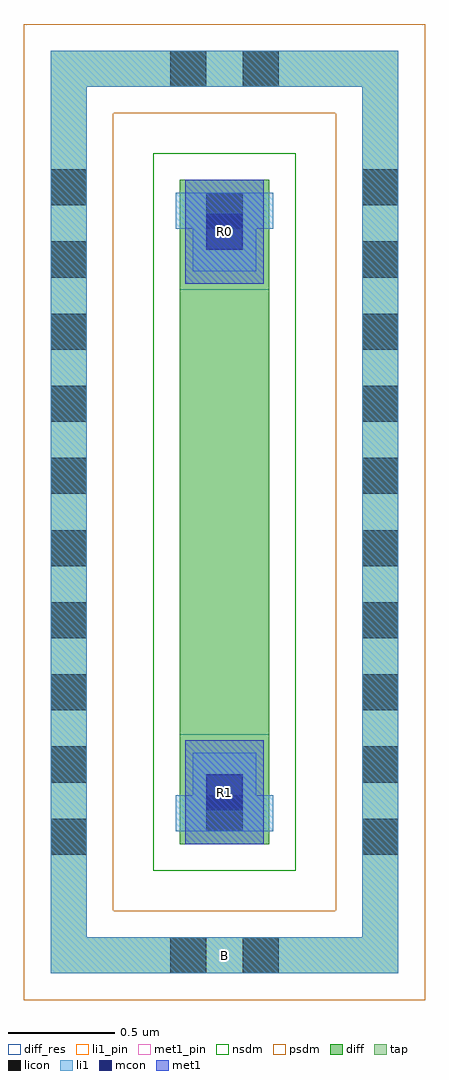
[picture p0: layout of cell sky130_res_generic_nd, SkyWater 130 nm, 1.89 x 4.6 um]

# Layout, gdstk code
import gdstk
lib = gdstk.Library(unit=1e-6, precision=1e-09)
def R(c, l, rs):  # rectangles x0, y0, x1, y1
    for r in rs: c.add(gdstk.rectangle(r[:2], r[2:], *l))
def A(c, l, x, y, w, h, nx, ny, dx, dy):  # array of equal rectangles
    R(c, l, [(x+i*dx, y+j*dy, x+i*dx+w, y+j*dy+h) for i in range(nx) for j in range(ny)])
diff_res = (65, 13)
diff = (65, 20)
tap = (65, 44)
licon = (66, 44)
li1_pin = (67, 16)
li1 = (67, 20)
mcon = (67, 44)
met1_pin = (68, 16)
met1 = (68, 20)
nsdm = (93, 44)
psdm = (94, 20)

res_diff = lib.new_cell('res_diff')
R(res_diff, diff_res, [(-0.21,-1.05,0.21,1.05)])
R(res_diff, diff, [(-0.21,-1.565,0.21,1.565)])
R(res_diff, tap, [(-0.82,-2.175,0.82,-2.005), (-0.82,-2.005,-0.65,2.005), (0.65,-2.005,0.82,2.005), (-0.82,2.005,0.82,2.175)])
A(res_diff, licon, -0.82, -1.615, 0.17, 0.17, 1, 10, 0, 0.34)
A(res_diff, licon, 0.65, -1.615, 0.17, 0.17, 1, 10, 0, 0.34)
R(res_diff, licon, [(-0.255,-2.175,-0.085,-2.005), (0.085,-2.175,0.255,-2.005), (-0.085,-1.505,0.085,-1.335), (-0.085,1.335,0.085,1.505), (-0.255,2.005,-0.085,2.175), (0.085,2.005,0.255,2.175)])
R(res_diff, li1, [(-0.82,-2.175,0.82,-2.005), (-0.82,-2.005,-0.65,2.005), (0.65,-2.005,0.82,2.005), (-0.23,-1.505,0.23,-1.335), (-0.15,-1.335,0.15,-1.135), (-0.15,1.135,0.15,1.335), (-0.23,1.335,0.23,1.505), (-0.82,2.005,0.82,2.175)])
R(res_diff, mcon, [(-0.085,-1.405,0.085,-1.235), (-0.085,1.235,0.085,1.405)])
R(res_diff, met1, [(-0.185,-1.565,0.185,-1.075), (-0.185,1.075,0.185,1.565)])
R(res_diff, nsdm, [(-0.335,-1.69,0.335,1.69)])
R(res_diff, psdm, [(-0.945,-2.3,0.945,-1.88), (-0.945,-1.88,-0.525,1.88), (0.525,-1.88,0.945,1.88), (-0.945,1.88,0.945,2.3)])

sky130_res_generic_nd = lib.new_cell('sky130_res_generic_nd')
R(sky130_res_generic_nd, li1_pin, [(-0.085,-2.175,0.085,-2.005)])
R(sky130_res_generic_nd, met1_pin, [(-0.085,-1.405,0.085,-1.235), (-0.085,1.235,0.085,1.405)])
sky130_res_generic_nd.add(gdstk.Reference(res_diff, (0,0)))
sky130_res_generic_nd.add(gdstk.Label('R0', (0,1.32), layer=68, texttype=5))
sky130_res_generic_nd.add(gdstk.Label('R1', (0,-1.32), layer=68, texttype=5))
sky130_res_generic_nd.add(gdstk.Label('B', (0,-2.09), layer=67, texttype=5))

lib.write_gds('sky130_res_generic_nd.gds')
